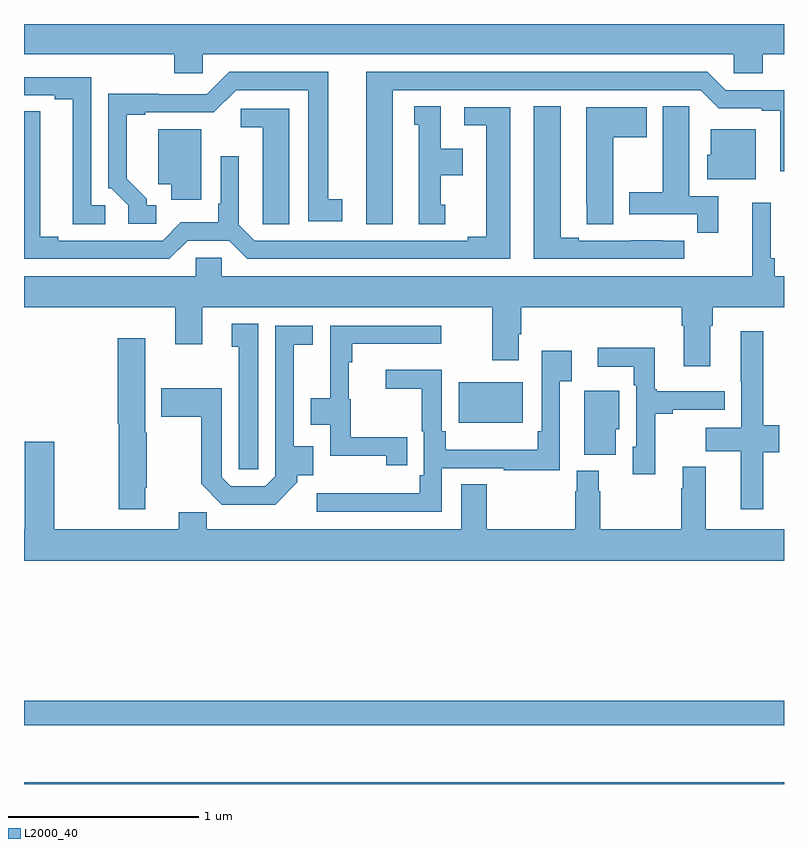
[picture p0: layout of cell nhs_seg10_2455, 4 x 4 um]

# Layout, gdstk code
import gdstk
lib = gdstk.Library(unit=1e-6, precision=1e-09)
def R(c, l, rs):  # rectangles x0, y0, x1, y1
    for r in rs: c.add(gdstk.rectangle(r[:2], r[2:], *l))
def P(c, l, *ps):  # polygons
    for p in ps: c.add(gdstk.Polygon(p, *l))
L2000_40 = (2000, 40)

nhs_seg10_2455 = lib.new_cell('nhs_seg10_2455')
R(nhs_seg10_2455, L2000_40, [(243,1272.5,247,1272.508), (243,1272.81,247,1272.938), (245.288,1274.402,245.626,1274.614)])
P(nhs_seg10_2455, L2000_40, [(243.942,1276.34),(246.735,1276.34),(246.735,1276.242),(246.887,1276.242),(246.887,1276.34),(247,1276.34),(247,1276.5),(243,1276.5),(243,1276.34),(243.791,1276.34),(243.791,1276.242),(243.942,1276.242)],
  [(244.942,1276.152),(246.561,1276.152),(246.657,1276.056),(246.884,1276.056),(246.884,1276.044),(246.98,1276.044),(246.98,1275.726),(247,1275.726),(247,1276.152),(246.693,1276.152),(246.597,1276.248),(244.802,1276.248),(244.802,1275.447),(244.942,1275.447)],
  [(243.697,1275.546),(243.646,1275.546),(243.646,1275.581),(243.541,1275.686),(243.541,1276.023),(243.637,1276.023),(243.637,1276.035),(243.999,1276.035),(244.116,1276.152),(244.496,1276.152),(244.496,1275.462),(244.675,1275.462),(244.675,1275.578),(244.6,1275.578),(244.6,1276.248),(244.08,1276.248),(243.963,1276.131),(243.707,1276.131),(243.707,1276.133),(243.444,1276.133),(243.444,1275.636),(243.459,1275.636),(243.549,1275.546),(243.549,1275.45),(243.697,1275.45)],
  [(243.427,1275.546),(243.354,1275.546),(243.354,1276.221),(243,1276.221),(243,1276.125),(243.161,1276.125),(243.161,1276.105),(243.257,1276.105),(243.257,1275.445),(243.427,1275.445)],
  [(246.653,1275.594),(246.502,1275.594),(246.502,1275.956),(246.501,1275.956),(246.501,1276.067),(246.362,1276.067),(246.362,1275.615),(246.185,1275.615),(246.185,1275.498),(246.544,1275.498),(246.544,1275.402),(246.653,1275.402)],
  [(246.475,1275.36),(246.362,1275.36),(246.362,1275.361),(246.196,1275.361),(246.196,1275.36),(245.92,1275.36),(245.92,1275.375),(245.824,1275.375),(245.824,1276.067),(245.684,1276.067),(245.684,1275.264),(246.475,1275.264)],
  [(245.218,1275.549),(245.194,1275.549),(245.194,1275.704),(245.308,1275.704),(245.308,1275.844),(245.194,1275.844),(245.194,1276.067),(245.054,1276.067),(245.054,1275.969),(245.078,1275.969),(245.078,1275.447),(245.218,1275.447)],
  [(246.1,1275.904),(246.277,1275.904),(246.277,1276.063),(245.96,1276.063),(245.96,1275.553),(245.961,1275.553),(245.961,1275.445),(246.1,1275.445)],
  [(243.861,1275.36),(244.079,1275.36),(244.175,1275.264),(245.56,1275.264),(245.56,1276.062),(245.316,1276.062),(245.316,1275.966),(245.432,1275.966),(245.432,1275.38),(245.336,1275.38),(245.336,1275.36),(244.215,1275.36),(244.131,1275.444),(244.131,1275.805),(244.035,1275.805),(244.035,1275.553),(244.023,1275.553),(244.023,1275.456),(243.825,1275.456),(243.729,1275.36),(243.181,1275.36),(243.181,1275.38),(243.085,1275.38),(243.085,1276.04),(243,1276.04),(243,1275.264),(243.765,1275.264)],
  [(244.396,1276.053),(244.14,1276.053),(244.14,1275.956),(244.256,1275.956),(244.256,1275.553),(244.257,1275.553),(244.257,1275.445),(244.396,1275.445)],
  [(243.934,1275.946),(243.707,1275.946),(243.707,1275.656),(243.776,1275.656),(243.776,1275.576),(243.934,1275.576)],
  [(246.85,1275.946),(246.614,1275.946),(246.614,1275.813),(246.596,1275.813),(246.596,1275.683),(246.85,1275.683)],
  [(246.613,1274.912),(246.626,1274.912),(246.626,1275.008),(247,1275.008),(247,1275.172),(246.95,1275.172),(246.95,1275.268),(246.93,1275.268),(246.93,1275.559),(246.833,1275.559),(246.833,1275.172),(244.041,1275.172),(244.041,1275.27),(243.903,1275.27),(243.903,1275.172),(243,1275.172),(243,1275.008),(243.797,1275.008),(243.797,1274.814),(243.937,1274.814),(243.937,1275.008),(245.465,1275.008),(245.465,1274.73),(245.605,1274.73),(245.605,1274.866),(245.618,1274.866),(245.618,1275.008),(246.461,1275.008),(246.461,1274.912),(246.473,1274.912),(246.473,1274.7),(246.613,1274.7)],
  [(244.234,1274.923),(244.094,1274.923),(244.094,1274.802),(244.13,1274.802),(244.13,1274.157),(244.234,1274.157)],
  [(245.018,1274.326),(244.72,1274.326),(244.72,1274.526),(244.709,1274.526),(244.709,1274.72),(244.727,1274.72),(244.727,1274.816),(245.197,1274.816),(245.197,1274.913),(244.611,1274.913),(244.611,1274.53),(244.508,1274.53),(244.508,1274.39),(244.611,1274.39),(244.611,1274.228),(244.907,1274.228),(244.907,1274.178),(245.018,1274.178)],
  [(244.439,1274.087),(244.439,1274.126),(244.522,1274.126),(244.522,1274.278),(244.419,1274.278),(244.419,1274.812),(244.519,1274.812),(244.519,1274.913),(244.323,1274.913),(244.323,1274.121),(244.269,1274.067),(244.089,1274.067),(244.041,1274.115),(244.041,1274.584),(243.722,1274.584),(243.722,1274.432),(243.933,1274.432),(243.933,1274.08),(244.042,1273.97),(244.322,1273.97)],
  [(246.89,1274.245),(246.976,1274.245),(246.976,1274.387),(246.89,1274.387),(246.89,1274.884),(246.773,1274.884),(246.773,1274.617),(246.774,1274.617),(246.774,1274.374),(246.589,1274.374),(246.589,1274.252),(246.773,1274.252),(246.773,1273.947),(246.89,1273.947)],
  [(243.637,1274.059),(243.645,1274.059),(243.645,1274.348),(243.637,1274.348),(243.637,1274.845),(243.494,1274.845),(243.494,1274.396),(243.499,1274.396),(243.499,1273.947),(243.637,1273.947)],
  [(246.323,1274.449),(246.415,1274.449),(246.415,1274.469),(246.689,1274.469),(246.689,1274.566),(246.331,1274.566),(246.331,1274.578),(246.319,1274.578),(246.319,1274.795),(246.021,1274.795),(246.021,1274.697),(246.21,1274.697),(246.21,1274.6),(246.222,1274.6),(246.222,1274.274),(246.203,1274.274),(246.203,1274.13),(246.323,1274.13)],
  [(245.199,1274.163),(245.524,1274.163),(245.524,1274.151),(245.82,1274.151),(245.82,1274.619),(245.884,1274.619),(245.884,1274.779),(245.724,1274.779),(245.724,1274.356),(245.704,1274.356),(245.704,1274.26),(245.219,1274.26),(245.219,1274.356),(245.199,1274.356),(245.199,1274.68),(244.905,1274.68),(244.905,1274.581),(245.093,1274.581),(245.093,1274.356),(245.103,1274.356),(245.103,1274.125),(245.083,1274.125),(245.083,1274.029),(244.82,1274.029),(244.82,1274.03),(244.542,1274.03),(244.542,1273.932),(245.199,1273.932)],
  [(246.115,1274.367),(246.133,1274.367),(246.133,1274.571),(245.949,1274.571),(245.949,1274.468),(245.948,1274.468),(245.948,1274.233),(246.115,1274.233)],
  [(247,1273.84),(246.589,1273.84),(246.589,1274.17),(246.467,1274.17),(246.467,1274.057),(246.46,1274.057),(246.46,1273.84),(246.033,1273.84),(246.033,1274.042),(246.025,1274.042),(246.025,1274.148),(245.909,1274.148),(245.909,1274.042),(245.902,1274.042),(245.902,1273.84),(245.436,1273.84),(245.436,1274.077),(245.3,1274.077),(245.3,1273.84),(243.962,1273.84),(243.962,1273.931),(243.815,1273.931),(243.815,1273.84),(243.159,1273.84),(243.159,1274.302),(243.004,1274.302),(243.004,1273.84),(243,1273.84),(243,1273.676),(247,1273.676)])

lib.write_gds('nhs_seg10_2455.gds')
